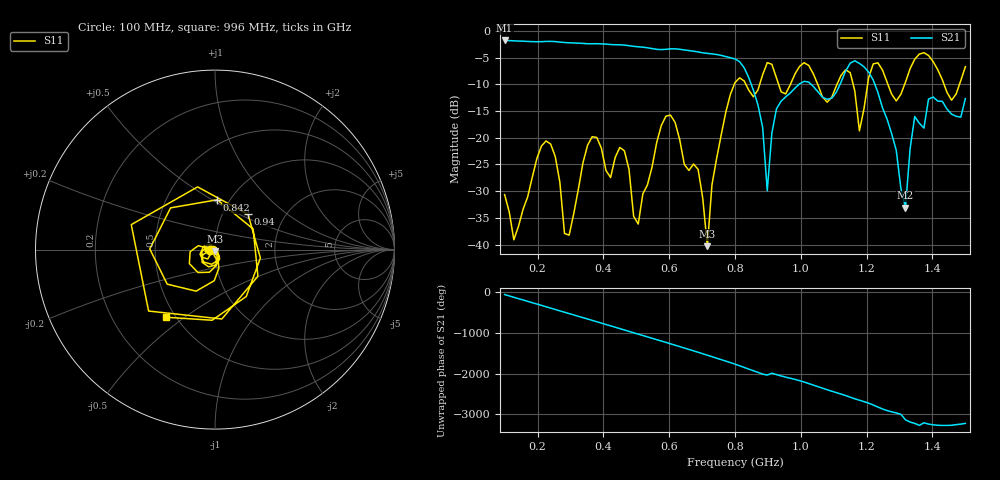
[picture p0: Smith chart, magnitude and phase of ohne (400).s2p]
! NanoVNA-App
! Date: 2025-09-25 14:23:54
! Start: 100MHz Stop: 1,5GHz Points: 101
! S-Parameter data: F S11 S21 S12 S22
# Hz S RI R 50
!  Frequency  S11_Real  S11_Imag  S21_Real  S21_Imag  S12_Real  S12_Imag  S22_Real  S22_Imag
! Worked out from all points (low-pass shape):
!   101 points, 100 MHz to 1.5 GHz, reference 50 ohm
!   highest |S21| = -1.79 dB at 100 MHz (marker M1); lowest = -33.1 dB at 1.318 GHz (marker M2)
!   |S21| within 3 dB of the highest: start of sweep to 770.8 MHz
!   lowest |S11| = -40.3 dB at 716 MHz (marker M3), VSWR 1.02, Z = 49.8 - j0.951 ohm
!   |S11| at or under -10 dB: start of sweep to 797.9 MHz; 833 MHz to 875.1 MHz (42.07 MHz wide, 4.93 % of centre); 1.051 GHz to 1.11 GHz (58.56 MHz wide, 5.42 % of centre)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
!   S12 and S22 are empty: the file has one direction only
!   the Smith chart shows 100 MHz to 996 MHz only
!   S11 on the Smith chart (normalised r, x): 100 MHz: 0.94, -0.01; 842 MHz: 0.88, +0.53; 940 MHz: 1.32, +0.56; 996 MHz: 0.45, -0.43
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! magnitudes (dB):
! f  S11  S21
! 100 MHz  -30.6  -1.8
! 128 MHz  -39.1  -1.9
! 226 MHz  -20.6  -2.0
! 296 MHz  -38.2  -2.2
! 338 MHz  -24.7  -2.3
! 464 MHz  -22.5  -2.7
! 506 MHz  -36.1  -3.0
! 576 MHz  -17.7  -3.5
! 688 MHz  -25.9  -3.9
! 716 MHz  -40.3  -4.2
! 800 MHz  -9.7  -5.3
! 842 MHz  -11.1  -8.8
! 898 MHz  -6.0  -29.9
! 940 MHz  -11.4  -13.2
! 996 MHz  -6.7  -9.9
! 1.038 GHz  -8.0  -10.4
! 1.178 GHz  -18.7  -6.1
! 1.22 GHz  -6.2  -9.2
! 1.276 GHz  -11.9  -19.3
! 1.318 GHz  -9.6  -33.1
! 1.346 GHz  -5.3  -16.0
! 1.5 GHz  -6.7  -12.7
